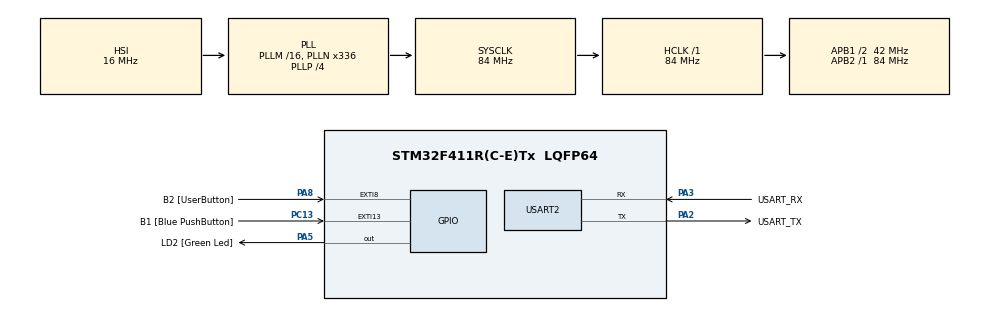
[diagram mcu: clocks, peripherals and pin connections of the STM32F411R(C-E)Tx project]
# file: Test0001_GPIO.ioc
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Mcu.Family=STM32F4
Mcu.Name=STM32F411R(C-E)Tx
Mcu.Package=LQFP64
NVIC.EXTI15_10_IRQn=true\:0\:0\:false\:false\:true\:true\:true\:true
NVIC.EXTI9_5_IRQn=true\:0\:0\:false\:false\:true\:true\:true\:true
NVIC.PriorityGroup=NVIC_PRIORITYGROUP_0
PA13.GPIO_Label=TMS
PA13.Mode=Serial_Wire
PA13.Signal=SYS_JTMS-SWDIO
PA14.GPIO_Label=TCK
PA14.Mode=Serial_Wire
PA14.Signal=SYS_JTCK-SWCLK
PA2.GPIO_Label=USART_TX
PA2.Mode=Asynchronous
PA2.Signal=USART2_TX
PA3.GPIO_Label=USART_RX
PA3.Mode=Asynchronous
PA3.Signal=USART2_RX
PA5.GPIO_Label=LD2 [Green Led]
PA5.Signal=GPIO_Output
PA8.GPIO_Label=B2 [UserButton]
PA8.Signal=GPXTI8
PB3.GPIO_Label=SWO
PB3.Signal=SYS_JTDO-SWO
PC13-ANTI_TAMP.GPIO_Label=B1 [Blue PushButton]
PC13-ANTI_TAMP.GPIO_ModeDefaultEXTI=GPIO_MODE_IT_FALLING
PC13-ANTI_TAMP.Signal=GPXTI13
PC14-OSC32_IN.Mode=LSE-External-Oscillator
PC14-OSC32_IN.Signal=RCC_OSC32_IN
PC15-OSC32_OUT.Mode=LSE-External-Oscillator
PC15-OSC32_OUT.Signal=RCC_OSC32_OUT
PH0\ -\ OSC_IN.Mode=HSE-External-Clock-Source
PH0\ -\ OSC_IN.Signal=RCC_OSC_IN
PH1\ -\ OSC_OUT.Mode=HSE-External-Clock-Source
PH1\ -\ OSC_OUT.Signal=RCC_OSC_OUT
ProjectManager.HeapSize=0x200
ProjectManager.StackSize=0x400
ProjectManager.TargetToolchain=STM32CubeIDE
RCC.48MHZClocksFreq_Value=84000000
RCC.AHBFreq_Value=84000000
RCC.APB1CLKDivider=RCC_HCLK_DIV2
RCC.APB1Freq_Value=42000000
RCC.APB1TimFreq_Value=84000000
RCC.APB2Freq_Value=84000000
RCC.APB2TimFreq_Value=84000000
RCC.CortexFreq_Value=84000000
RCC.FLatency-AdvancedSettings=FLASH_LATENCY_2
RCC.HCLKFreq_Value=84000000
RCC.HSE_VALUE=8000000
RCC.HSI_VALUE=16000000
RCC.PLLN=336
RCC.PLLP=RCC_PLLP_DIV4
RCC.SYSCLKFreq_VALUE=84000000
RCC.SYSCLKSource=RCC_SYSCLKSOURCE_PLLCLK
RCC.VCOOutputFreq_Value=336000000
USART2.VirtualMode=VM_ASYNC
board=NUCLEO-F411RE

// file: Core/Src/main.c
/* USER CODE BEGIN Header */
/**
  ******************************************************************************
  * @file           : main.c
  * @brief          : Main program body
  ******************************************************************************
  * @attention
  *
  * Copyright (c) 2024 STMicroelectronics.
  * All rights reserved.
  *
  * This software is licensed under terms that can be found in the LICENSE file
  * in the root directory of this software component.
  * If no LICENSE file comes with this software, it is provided AS-IS.
  *
  ******************************************************************************
  */
/* USER CODE END Header */
#include "main.h"

/* USER CODE BEGIN Includes */
#include <stdio.h>
/* USER CODE END Includes */

UART_HandleTypeDef huart2;

/* USER CODE BEGIN PV */
int __io_putchar(int ch)	// 1문자 단위로 포트에 출력
//언더바가 많이 붙어있다면 대부분 시스템 함수라고 생각하면 좋다, 유저가 건드리면 힘들어진다는 뜻
{
	//일정한 길이로 문자를 출력해주는 함수
	HAL_UART_Transmit(&huart2, &ch, 1, 10);
	return ch;
}
//\int __io_getchar(void)
/* USER CODE END PV */

void SystemClock_Config(void);
static void MX_GPIO_Init(void);
static void MX_USART2_UART_Init(void);

/* USER CODE BEGIN 0 */
int mode = 0;
int count = 0;
void HAL_GPIO_EXTI_Callback(uint16_t GPIO_Pin)	//EXTI15 (B1) ISR
{
	switch(GPIO_Pin)
	{
	case B1_Pin:
		mode++;
		if(mode > 1) mode = 0;
		break;
	case B2_Pin:
		printf("%d times pressd\r\n", count++);
		break;
	}
}

/* USER CODE END 0 */

int main(void)
{

  /* MCU Configuration--------------------------------------------------------*/

  /* Reset of all peripherals, Initializes the Flash interface and the Systick. */
  HAL_Init();

  /* Configure the system clock */
  SystemClock_Config();

  /* Initialize all configured peripherals */
  MX_GPIO_Init();
  MX_USART2_UART_Init();
  /* USER CODE BEGIN 2 */
  printf("\033[2J"); //화면초기화(클리어), 2J
  printf("\033[1;1H\n");	//커서 이동 구문, [y;xH : (x,y) 위치로 커서이동
  /* USER CODE END 2 */

  /* Infinite loop */
  while (1)
  {

    /* USER CODE BEGIN 3 */
	     int a = HAL_GPIO_ReadPin(GPIOC, GPIO_PIN_13);   //PC13 : B1
	     if(mode == 1)
	     {
	    	 HAL_GPIO_WritePin(LD2_GPIO_Port, LD2_Pin, 1);   //PA5
	    	 HAL_Delay(500);   //ms?  ?
	    	 HAL_GPIO_WritePin(LD2_GPIO_Port, LD2_Pin, 0);
	    	 HAL_Delay(500);
	     }
  }
  /* USER CODE END 3 */
}

void SystemClock_Config(void)
{
  RCC_OscInitTypeDef RCC_OscInitStruct = {0};
  RCC_ClkInitTypeDef RCC_ClkInitStruct = {0};

  /** Configure the main internal regulator output voltage
  */
  __HAL_RCC_PWR_CLK_ENABLE();
  __HAL_PWR_VOLTAGESCALING_CONFIG(PWR_REGULATOR_VOLTAGE_SCALE1);

  /** Initializes the RCC Oscillators according to the specified parameters
  * in the RCC_OscInitTypeDef structure.
  */
  RCC_OscInitStruct.OscillatorType = RCC_OSCILLATORTYPE_HSI;
  RCC_OscInitStruct.HSIState = RCC_HSI_ON;
  RCC_OscInitStruct.HSICalibrationValue = RCC_HSICALIBRATION_DEFAULT;
  RCC_OscInitStruct.PLL.PLLState = RCC_PLL_ON;
  RCC_OscInitStruct.PLL.PLLSource = RCC_PLLSOURCE_HSI;
  RCC_OscInitStruct.PLL.PLLM = 16;
  RCC_OscInitStruct.PLL.PLLN = 336;
  RCC_OscInitStruct.PLL.PLLP = RCC_PLLP_DIV4;
  RCC_OscInitStruct.PLL.PLLQ = 4;
  if (HAL_RCC_OscConfig(&RCC_OscInitStruct) != HAL_OK)
  {
    Error_Handler();
  }

  /** Initializes the CPU, AHB and APB buses clocks
  */
  RCC_ClkInitStruct.ClockType = RCC_CLOCKTYPE_HCLK|RCC_CLOCKTYPE_SYSCLK
                              |RCC_CLOCKTYPE_PCLK1|RCC_CLOCKTYPE_PCLK2;
  RCC_ClkInitStruct.SYSCLKSource = RCC_SYSCLKSOURCE_PLLCLK;
  RCC_ClkInitStruct.AHBCLKDivider = RCC_SYSCLK_DIV1;
  RCC_ClkInitStruct.APB1CLKDivider = RCC_HCLK_DIV2;
  RCC_ClkInitStruct.APB2CLKDivider = RCC_HCLK_DIV1;

  if (HAL_RCC_ClockConfig(&RCC_ClkInitStruct, FLASH_LATENCY_2) != HAL_OK)
  {
    Error_Handler();
  }
}

static void MX_USART2_UART_Init(void)
{

  huart2.Instance = USART2;
  huart2.Init.BaudRate = 115200;
  huart2.Init.WordLength = UART_WORDLENGTH_8B;
  huart2.Init.StopBits = UART_STOPBITS_1;
  huart2.Init.Parity = UART_PARITY_NONE;
  huart2.Init.Mode = UART_MODE_TX_RX;
  huart2.Init.HwFlowCtl = UART_HWCONTROL_NONE;
  huart2.Init.OverSampling = UART_OVERSAMPLING_16;
  if (HAL_UART_Init(&huart2) != HAL_OK)
  {
    Error_Handler();
  }

}

static void MX_GPIO_Init(void)
{
  GPIO_InitTypeDef GPIO_InitStruct = {0};

  /* GPIO Ports Clock Enable */
  __HAL_RCC_GPIOC_CLK_ENABLE();
  __HAL_RCC_GPIOH_CLK_ENABLE();
  __HAL_RCC_GPIOA_CLK_ENABLE();
  __HAL_RCC_GPIOB_CLK_ENABLE();

  /*Configure GPIO pin Output Level */
  HAL_GPIO_WritePin(LD2_GPIO_Port, LD2_Pin, GPIO_PIN_RESET);

  /*Configure GPIO pin : B1_Pin */
  GPIO_InitStruct.Pin = B1_Pin;
  GPIO_InitStruct.Mode = GPIO_MODE_IT_FALLING;
  GPIO_InitStruct.Pull = GPIO_NOPULL;
  HAL_GPIO_Init(B1_GPIO_Port, &GPIO_InitStruct);

  /*Configure GPIO pin : LD2_Pin */
  GPIO_InitStruct.Pin = LD2_Pin;
  GPIO_InitStruct.Mode = GPIO_MODE_OUTPUT_PP;
  GPIO_InitStruct.Pull = GPIO_NOPULL;
  GPIO_InitStruct.Speed = GPIO_SPEED_FREQ_LOW;
  HAL_GPIO_Init(LD2_GPIO_Port, &GPIO_InitStruct);

  /*Configure GPIO pin : B2_Pin */
  GPIO_InitStruct.Pin = B2_Pin;
  GPIO_InitStruct.Mode = GPIO_MODE_IT_RISING;
  GPIO_InitStruct.Pull = GPIO_NOPULL;
  HAL_GPIO_Init(B2_GPIO_Port, &GPIO_InitStruct);

  /* EXTI interrupt init*/
  HAL_NVIC_SetPriority(EXTI9_5_IRQn, 0, 0);
  HAL_NVIC_EnableIRQ(EXTI9_5_IRQn);

  HAL_NVIC_SetPriority(EXTI15_10_IRQn, 0, 0);
  HAL_NVIC_EnableIRQ(EXTI15_10_IRQn);

}

void Error_Handler(void)
{
  __disable_irq();
  while (1)
  {
  }
}
